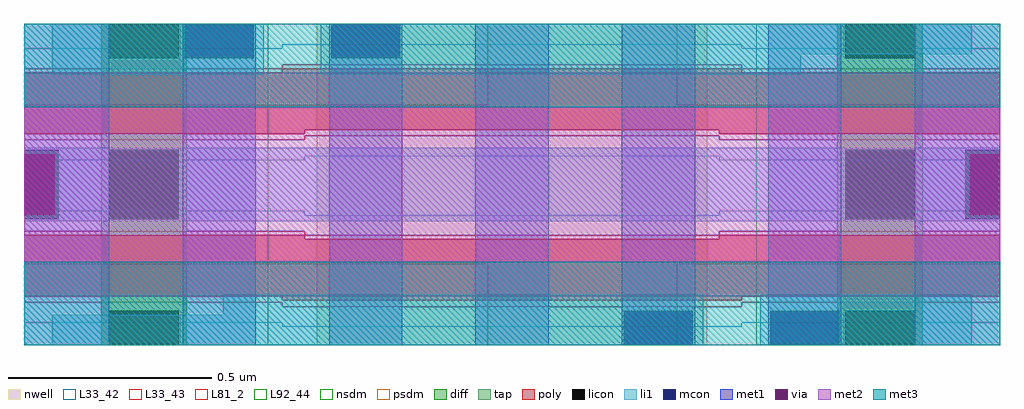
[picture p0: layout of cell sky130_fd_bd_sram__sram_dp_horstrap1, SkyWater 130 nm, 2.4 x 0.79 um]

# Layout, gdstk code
from math import pi, radians
import gdstk
lib = gdstk.Library(unit=1e-6, precision=1e-09)
def R(c, l, rs):  # rectangles x0, y0, x1, y1
    for r in rs: c.add(gdstk.rectangle(r[:2], r[2:], *l))
def P(c, l, *ps):  # polygons
    for p in ps: c.add(gdstk.Polygon(p, *l))
L33_42 = (33, 42)
L33_43 = (33, 43)
nwell = (64, 20)
diff = (65, 20)
tap = (65, 44)
poly = (66, 20)
licon = (66, 44)
li1 = (67, 20)
mcon = (67, 44)
met1 = (68, 20)
via = (68, 44)
met2 = (69, 20)
met3 = (70, 20)
L81_2 = (81, 2)
L92_44 = (92, 44)
nsdm = (93, 44)
psdm = (94, 20)

sky130_fd_bd_sram__sram_ = lib.new_cell('sky130_fd_bd_sram__sram_dp_horstrap_li')
R(sky130_fd_bd_sram__sram_, li1, [(1.2,0,1.67,0.125), (1.81,0,2.33,0.125)])
P(sky130_fd_bd_sram__sram_, li1, [(0.07,0),(0.07,0.075),(0.49,0.075),(0.49,0.125),(1.2,0.125),(1.2,0)])

c_sky130_fd_bd_sram__sram_ = lib.new_cell('sky130_fd_bd_sram__sram_dp_horstrap_mcon')
R(c_sky130_fd_bd_sram__sram_, mcon, [(1.475,0,1.645,0.085), (1.835,0,2.005,0.085)])

c_sky130_fd_bd_sram__sram__ = lib.new_cell('sky130_fd_bd_sram__sram_dp_horstrap_limcon')
c_sky130_fd_bd_sram__sram__.add(gdstk.Reference(sky130_fd_bd_sram__sram_, (2.4,0.79), rotation=pi))
c_sky130_fd_bd_sram__sram__.add(gdstk.Reference(sky130_fd_bd_sram__sram_, (0,0)))
c_sky130_fd_bd_sram__sram__.add(gdstk.Reference(c_sky130_fd_bd_sram__sram_, (0,0)))
c_sky130_fd_bd_sram__sram__.add(gdstk.Reference(c_sky130_fd_bd_sram__sram_, (2.4,0.79), rotation=pi))

c_sky130_fd_bd_sram__sram___ = lib.new_cell('sky130_fd_bd_sram__sram_dp_horstrap_npsdm')
R(c_sky130_fd_bd_sram__sram___, nsdm, [(0,0,1.14,0.2), (1.605,0,2.4,0.2), (0,0.59,1.14,0.79), (1.605,0.59,2.4,0.79)])
R(c_sky130_fd_bd_sram__sram___, psdm, [(1.14,0,1.605,0.2), (1.14,0.59,1.605,0.79)])

c_sky130_fd_bd_sram__sram____ = lib.new_cell('sky130_fd_bd_sram__sram_dp_cell_half_wl')
P(c_sky130_fd_bd_sram__sram____, poly, [(0.635,-0.01),(0.635,0),(0,0),(0,0.15),(0.69,0.15),(0.69,0.14),(1.2,0.14),(1.2,-0.01)])

c_sky130_fd_bd_sram__sram_____ = lib.new_cell('sky130_fd_bd_sram__sram_dp_horstrap_h')
R(c_sky130_fd_bd_sram__sram_____, nwell, [(0.72,0,1.2,0.79)])
R(c_sky130_fd_bd_sram__sram_____, diff, [(0.19,0,0.4,0.2), (0.19,0.59,0.4,0.79)])
R(c_sky130_fd_bd_sram__sram_____, tap, [(0.19,0.2,0.4,0.59)])
R(c_sky130_fd_bd_sram__sram_____, licon, [(0.21,0,0.38,0.085), (0.21,0.31,0.38,0.48), (0.21,0.705,0.38,0.79)])
R(c_sky130_fd_bd_sram__sram_____, li1, [(0,0.305,0.525,0.485), (0.525,0.305,1.2,0.485)])
R(c_sky130_fd_bd_sram__sram_____, met3, [(0,0,1.2,0.205), (0,0.585,1.2,0.79)])
R(c_sky130_fd_bd_sram__sram_____, L92_44, [(0,0,0.6,0.79)])
R(c_sky130_fd_bd_sram__sram_____, psdm, [(0.06,0.2,1.2,0.59)])
c_sky130_fd_bd_sram__sram_____.add(gdstk.Reference(c_sky130_fd_bd_sram__sram____, (0,0.12)))
c_sky130_fd_bd_sram__sram_____.add(gdstk.Reference(c_sky130_fd_bd_sram__sram____, (0,0.67), x_reflection=True))

c_sky130_fd_bd_sram__sram______ = lib.new_cell('sky130_fd_bd_sram__sram_dp_horstrap_half')
R(c_sky130_fd_bd_sram__sram______, mcon, [(0,0.31,0.085,0.48)])
R(c_sky130_fd_bd_sram__sram______, met1, [(0.39,0,0.57,0.79), (0.75,0,0.93,0.79), (1.11,0,1.2,0.79), (0,0.205,0.21,0.585)])
R(c_sky130_fd_bd_sram__sram______, met2, [(0,0.12,1.2,0.67)])
c_sky130_fd_bd_sram__sram______.add(gdstk.Reference(c_sky130_fd_bd_sram__sram_____, (0,0)))

c_sky130_fd_bd_sram__sram_______ = lib.new_cell('sky130_fd_bd_sram__sram_dp_horstrap_half1')
R(c_sky130_fd_bd_sram__sram_______, mcon, [(0,0.31,0.085,0.48)])
R(c_sky130_fd_bd_sram__sram_______, met1, [(0,0,0.21,0.205), (0,0.585,0.21,0.79)])
R(c_sky130_fd_bd_sram__sram_______, via, [(0,0.32,0.075,0.47)])
R(c_sky130_fd_bd_sram__sram_______, psdm, [(0,0.2,0.06,0.59)])
c_sky130_fd_bd_sram__sram_______.add(gdstk.Reference(c_sky130_fd_bd_sram__sram______, (0,0)))

c_sky130_fd_bd_sram__sram________ = lib.new_cell('sky130_fd_bd_sram__sram_dp_cell_half_poly_siz_optd')
P(c_sky130_fd_bd_sram__sram________, L33_42, [(0.635,-0.075),(0.635,-0.065),(0,-0.065),(0,-0.015),(0.635,-0.015),(0.635,-0.025),(1.2,-0.025),(1.2,-0.075)])
P(c_sky130_fd_bd_sram__sram________, L33_43, [(0.635,-0.025),(0.635,-0.015),(0,-0.015),(0,0),(0.635,0),(0.635,-0.01),(1.2,-0.01),(1.2,-0.025)])

c_sky130_fd_bd_sram__sram_________ = lib.new_cell('sky130_fd_bd_sram__sram_dp_cell_half_poly_siz_optc')
P(c_sky130_fd_bd_sram__sram_________, L33_42, [(0.69,0),(0.69,0.01),(0,0.01),(0,0.06),(0.69,0.06),(0.69,0.05),(1.2,0.05),(1.2,0)])
R(c_sky130_fd_bd_sram__sram_________, L33_43, [(0.69,-0.01,1.2,0), (0,0,0.69,0.01)])

c_sky130_fd_bd_sram__sram__________ = lib.new_cell('sky130_fd_bd_sram__sram_dp_cell_half_poly_siz_optb')
P(c_sky130_fd_bd_sram__sram__________, L33_42, [(0,-0.065),(0,-0.015),(0.69,-0.015),(0.69,-0.005),(1.2,-0.005),(1.2,-0.055),(0.69,-0.055),(0.69,-0.065)])
P(c_sky130_fd_bd_sram__sram__________, L33_43, [(0,-0.015),(0,0),(0.69,0),(0.69,0.01),(1.2,0.01),(1.2,-0.005),(0.69,-0.005),(0.69,-0.015)])

c_sky130_fd_bd_sram__sram___________ = lib.new_cell('sky130_fd_bd_sram__sram_dp_cell_half_poly_siz_opta')
P(c_sky130_fd_bd_sram__sram___________, L33_42, [(0,0.01),(0,0.06),(0.635,0.06),(0.635,0.07),(1.2,0.07),(1.2,0.02),(0.635,0.02),(0.635,0.01)])
R(c_sky130_fd_bd_sram__sram___________, L33_43, [(0,0,0.635,0.01), (0.635,0.01,1.2,0.02)])

c_sky130_fd_bd_sram__sram____________ = lib.new_cell('sky130_fd_bd_sram__sram_dp_horstrap_p1m_siz')
c_sky130_fd_bd_sram__sram____________.add(gdstk.Reference(c_sky130_fd_bd_sram__sram________, (2.4,0.12), rotation=pi, x_reflection=True))
c_sky130_fd_bd_sram__sram____________.add(gdstk.Reference(c_sky130_fd_bd_sram__sram________, (0,0.12)))
c_sky130_fd_bd_sram__sram____________.add(gdstk.Reference(c_sky130_fd_bd_sram__sram_________, (2.4,0.27), rotation=pi, x_reflection=True))
c_sky130_fd_bd_sram__sram____________.add(gdstk.Reference(c_sky130_fd_bd_sram__sram_________, (0,0.27)))
c_sky130_fd_bd_sram__sram____________.add(gdstk.Reference(c_sky130_fd_bd_sram__sram__________, (2.4,0.52), rotation=pi, x_reflection=True))
c_sky130_fd_bd_sram__sram____________.add(gdstk.Reference(c_sky130_fd_bd_sram__sram__________, (0,0.52)))
c_sky130_fd_bd_sram__sram____________.add(gdstk.Reference(c_sky130_fd_bd_sram__sram___________, (2.4,0.67), rotation=pi, x_reflection=True))
c_sky130_fd_bd_sram__sram____________.add(gdstk.Reference(c_sky130_fd_bd_sram__sram___________, (0,0.67)))

c_sky130_fd_bd_sram__sram_____________ = lib.new_cell('sky130_fd_bd_sram__sram_dp_horstrap1')
R(c_sky130_fd_bd_sram__sram_____________, L81_2, [(0,0,2.4,0.79)])
c_sky130_fd_bd_sram__sram_____________.add(gdstk.Reference(c_sky130_fd_bd_sram__sram__, (0,0)))
c_sky130_fd_bd_sram__sram_____________.add(gdstk.Reference(c_sky130_fd_bd_sram__sram___, (0,0)))
c_sky130_fd_bd_sram__sram_____________.add(gdstk.Reference(c_sky130_fd_bd_sram__sram_______, (2.4,0), rotation=pi, x_reflection=True))
c_sky130_fd_bd_sram__sram_____________.add(gdstk.Reference(c_sky130_fd_bd_sram__sram_______, (0,0)))
c_sky130_fd_bd_sram__sram_____________.add(gdstk.Reference(c_sky130_fd_bd_sram__sram____________, (0,0)))

lib.write_gds('sky130_fd_bd_sram__sram_dp_horstrap1.gds')
